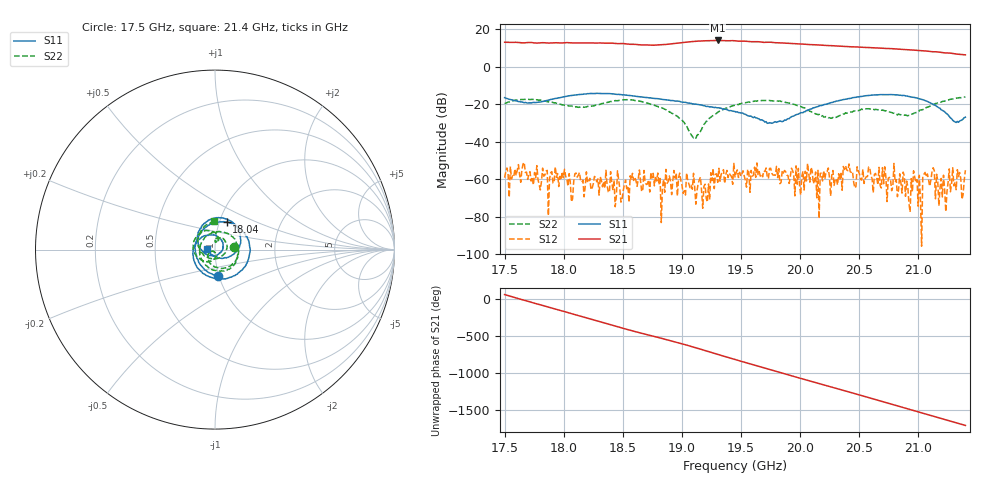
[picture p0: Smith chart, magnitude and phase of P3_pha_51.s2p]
!Created with skrf (http://scikit-rf.org).
# GHz S RI R 50.0
!freq ReS11 ImS11 ReS21 ImS21 ReS12 ImS12 ReS22 ImS22
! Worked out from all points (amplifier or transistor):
!   401 points, 17.5 GHz to 21.4 GHz, reference 50 ohm
!   highest |S21| = 14.1 dB at 19.3 GHz (marker M1)
!   |S21| within 3 dB of that: start of sweep to 20.32 GHz
!   unconditionally stable (mu >= 1): start of sweep to end of sweep
!   at 18.14 GHz: K = 117.75, MAG = 13.0 dB, |S12| = -60.6 dB
!   at 19.45 GHz: K = 86.90, MAG = 13.9 dB, |S12| = -58.8 dB
!   at 21.4 GHz: K = 133.48, MAG = 6.5 dB, |S12| = -55.1 dB
!   S11 on the Smith chart (normalised r, x): 17.5 GHz: 0.99, -0.30; 18.04 GHz: 1.08, +0.34; 21.4 GHz: 0.91, +0.01
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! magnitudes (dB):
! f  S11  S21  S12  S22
! 17.5 GHz  -16.5  13.1  -59.2  -19.7
! 18.04 GHz  -15.5  12.9  -63.7  -20.7
! 18.15 GHz  -14.7  12.8  -61.6  -21.4
! 18.81 GHz  -17.1  11.7  -62.9  -21.5
! 19.11 GHz  -19.9  13.6  -64.1  -37.4
! 19.2 GHz  -20.8  13.9  -62.6  -30.1
! 19.3 GHz  -21.9  14.1  -61.6  -24.3
! 19.45 GHz  -23.9  13.9  -58.8  -20.5
! 19.74 GHz  -29.8  13.1  -54.2  -17.9
! 20.1 GHz  -22.3  11.8  -55.5  -24.3
! 20.14 GHz  -21.4  11.7  -69.9  -25.2
! 20.4 GHz  -17.2  10.8  -55.0  -24.7
! 20.76 GHz  -14.8  9.7  -59.0  -24.1
! 20.86 GHz  -15.3  9.3  -67.4  -25.8
! 20.91 GHz  -15.7  9.1  -63.9  -26.1
! 20.97 GHz  -16.4  8.9  -58.8  -24.6
! 21.01 GHz  -17.0  8.6  -57.9  -23.4
! 21.06 GHz  -18.0  8.5  -56.3  -21.8
! 21.12 GHz  -19.7  8.0  -56.1  -20.4
! 21.22 GHz  -24.0  7.4  -65.7  -18.3
! 21.27 GHz  -27.2  7.3  -66.7  -17.3
! 21.4 GHz  -26.9  6.4  -55.1  -16.1
